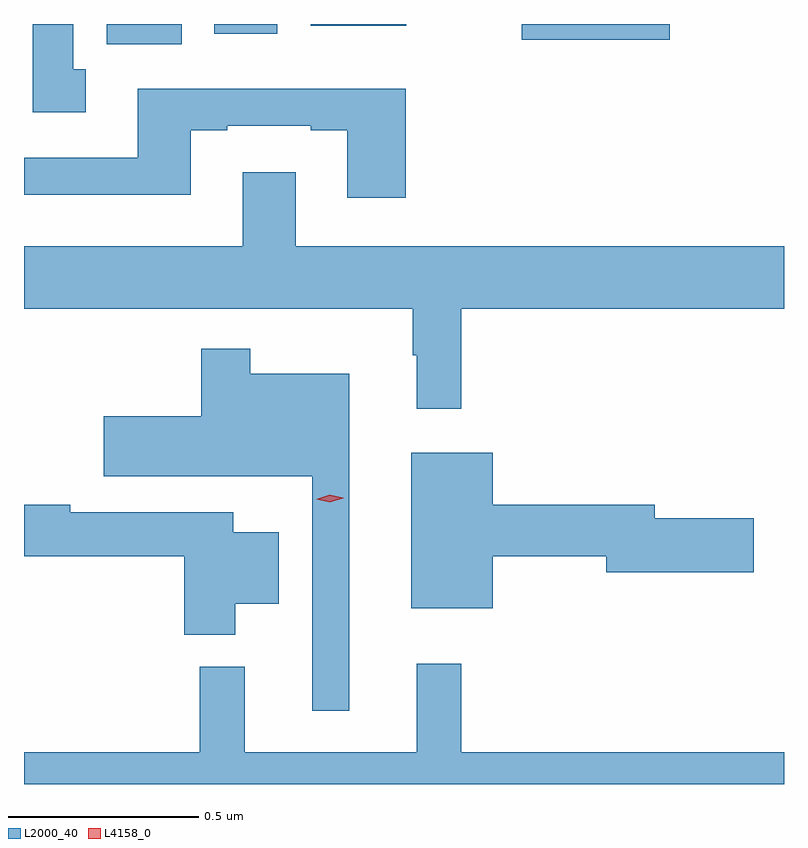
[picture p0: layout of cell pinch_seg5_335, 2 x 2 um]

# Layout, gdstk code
import gdstk
lib = gdstk.Library(unit=1e-6, precision=1e-09)
def R(c, l, rs):  # rectangles x0, y0, x1, y1
    for r in rs: c.add(gdstk.rectangle(r[:2], r[2:], *l))
def P(c, l, *ps):  # polygons
    for p in ps: c.add(gdstk.Polygon(p, *l))
L2000_40 = (2000, 40)
L4158_0 = (4158, 0)

pinch_seg5_335 = lib.new_cell('pinch_seg5_335')
R(pinch_seg5_335, L2000_40, [(947.246,882.764,947.443,882.817), (948.338,882.776,948.727,882.817), (947.528,882.792,947.695,882.817), (947.783,882.812,948.034,882.817)])
P(pinch_seg5_335, L2000_40, [(947.191,882.698),(947.158,882.698),(947.158,882.817),(947.051,882.817),(947.051,882.585),(947.191,882.585)],
  [(948.032,882.646),(947.327,882.646),(947.327,882.465),(947.028,882.465),(947.028,882.368),(947.467,882.368),(947.467,882.537),(947.563,882.537),(947.563,882.549),(947.783,882.549),(947.783,882.537),(947.879,882.537),(947.879,882.36),(948.032,882.36)],
  [(948.179,882.068),(949.028,882.068),(949.028,882.232),(947.743,882.232),(947.743,882.427),(947.603,882.427),(947.603,882.232),(947.028,882.232),(947.028,882.068),(948.051,882.068),(948.051,881.945),(948.062,881.945),(948.062,881.805),(948.179,881.805)],
  [(947.884,881.896),(947.623,881.896),(947.623,881.962),(947.494,881.962),(947.494,881.785),(947.238,881.785),(947.238,881.627),(947.787,881.627),(947.787,881.01),(947.884,881.01)],
  [(948.262,881.416),(948.56,881.416),(948.56,881.374),(948.949,881.374),(948.949,881.516),(948.688,881.516),(948.688,881.552),(948.262,881.552),(948.262,881.689),(948.047,881.689),(948.047,881.279),(948.262,881.279)],
  [(947.584,881.291),(947.698,881.291),(947.698,881.479),(947.578,881.479),(947.578,881.532),(947.15,881.532),(947.15,881.552),(947.028,881.552),(947.028,881.416),(947.45,881.416),(947.45,881.21),(947.584,881.21)],
  [(949.028,880.9),(948.179,880.9),(948.179,881.134),(948.062,881.134),(948.062,880.9),(947.609,880.9),(947.609,881.125),(947.491,881.125),(947.491,880.9),(947.028,880.9),(947.028,880.817),(949.028,880.817)])
P(pinch_seg5_335, L4158_0, [(947.833,881.558),(947.797,881.566),(947.797,881.566),(947.797,881.566),(947.832,881.578),(947.868,881.57),(947.868,881.57),(947.868,881.569)])

lib.write_gds('pinch_seg5_335.gds')
